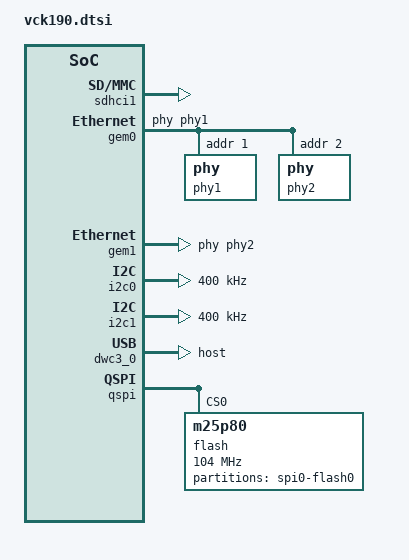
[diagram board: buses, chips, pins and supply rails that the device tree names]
/*
  Copyright 2021 Xilinx, Inc.
 
  Licensed under the Apache License, Version 2.0 (the "License");
  you may not use this file except in compliance with the License.
  You may obtain a copy of the License at
 
      http://www.apache.org/licenses/LICENSE-2.0
 
  Unless required by applicable law or agreed to in writing, software
  distributed under the License is distributed on an "AS IS" BASIS,
  WITHOUT WARRANTIES OR CONDITIONS OF ANY KIND, either express or implied.
  See the License for the specific language governing permissions and
  limitations under the License.
*/ 

&sdhci1 { /* PMC_MIO26-36/51 */
	status = "okay";
	xlnx,mio_bank = <1>;
};

&gem0 { /* PMC_MIO_48, LPD_MIO0-11/24/25 */
	phy-handle = <&phy1>; /* u128 */
	phy1: phy@1 {
		reg = <1>;
		ti,rx-internal-delay = <0xb>;
		ti,tx-internal-delay = <0xa>;
		ti,fifo-depth = <1>;
		ti,dp83867-rxctrl-strap-quirk;
	};
	phy2: phy@2 {
		reg = <2>;
		ti,rx-internal-delay = <0xb>;
		ti,tx-internal-delay = <0xa>;
		ti,fifo-depth = <1>;
		ti,dp83867-rxctrl-strap-quirk;
	};
};

&gem1 { /* PMC_MIO_49, LPD_MIO12-23 */
	phy-handle = <&phy2>; /* u134 */
};

&i2c0 { /* PMC_MIO46/47 */
	clock-frequency = <400000>;
};

&i2c1 { /* PMC_MIO44/45 */
	clock-frequency = <400000>;
};

&usb0 { /* PMC_MIO13_500 - PMC_MIO25 USB 2.0 */
	xlnx,usb-polarity = <0x0>;
	xlnx,usb-reset-mode = <0x0>;
};

&dwc3_0 { /* USB 2.0 host */
	dr_mode = "host";
	maximum-speed = "high-speed";
	snps,dis_u2_susphy_quirk;
	snps,dis_u3_susphy_quirk;
	snps,usb3_lpm_capable;
};

&qspi {
        flash@0 {
                #address-cells = <1>;
                #size-cells = <1>;
		compatible = "m25p80", "jedec,spi-nor"; /* 256MB */
                reg = <0>;
                spi-tx-bus-width = <1>;
                spi-rx-bus-width = <4>;
                spi-max-frequency = <104000000>;
                partition@0 {
                        label = "spi0-flash0";
                        reg = <0x0 0x10000000>;
                };
        };
};
